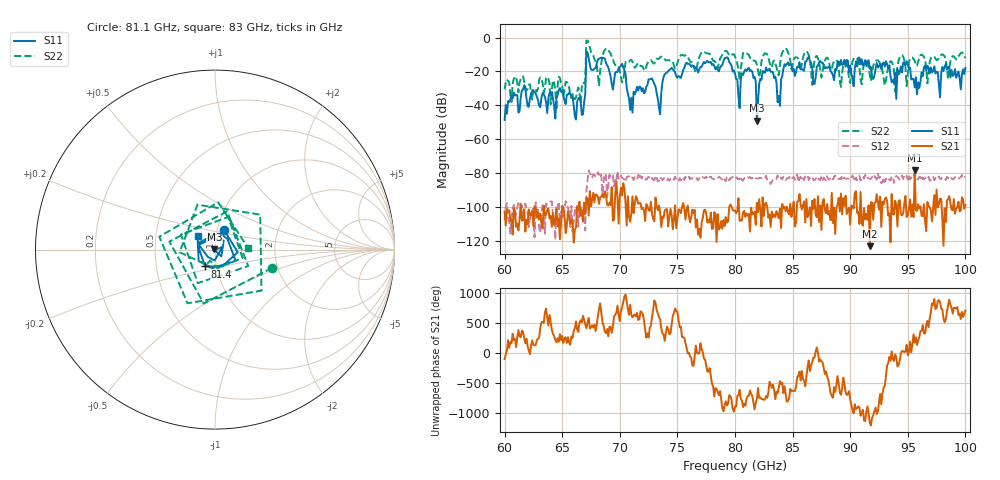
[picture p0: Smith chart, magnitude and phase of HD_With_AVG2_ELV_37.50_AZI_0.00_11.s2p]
! 11/25/2026 10:15:12 AM
! C:\ANRITSUVNA\TEMP\TEMP.S2P
! CHANNEL.1
! TR.MEASUREMENT
! RAW.DATA
# HZ S RI R 50.0
! FREQ.HZ  S11RE  S11IM  S21RE  S21IM  S12RE  S12IM  S22RE  S22IM
!; PortSelection: Port_12
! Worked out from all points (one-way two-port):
!   401 points, 60 GHz to 100 GHz, reference 50 ohm
!   highest |S21| = -78.10 dB at 95.6 GHz (marker M1); lowest = -123.0 dB at 91.7 GHz (marker M2)
!   lowest |S11| = -49.1 dB at 81.9 GHz (marker M3), VSWR 1.01, Z = 49.7 + j0.0604 ohm
!   |S11| at or under -10 dB: start of sweep to 67.09 GHz; 67.23 GHz to end of sweep
!   |S22| runs from -42.8 to -1.7 dB; largest |S21 - S12| = 0.00023
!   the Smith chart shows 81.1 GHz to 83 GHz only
!   S11 on the Smith chart (normalised r, x): 81.1 GHz: 1.08, +0.24; 81.4 GHz: 0.88, -0.17; 83 GHz: 0.82, +0.12
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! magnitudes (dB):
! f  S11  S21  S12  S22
! 60 GHz  -48.6  -102.5  -107.7  -30.5
! 61.6 GHz  -30.6  -107.7  -103.7  -22.8
! 66.7 GHz  -45.7  -101.7  -104.1  -29.5
! 67.3 GHz  -12.1  -104.9  -78.4  -3.2
! 68.4 GHz  -11.8  -93.8  -82.2  -14.7
! 70.3 GHz  -17.5  -85.9  -83.1  -25.5
! 70.9 GHz  -42.7  -108.6  -83.1  -13.5
! 72.7 GHz  -24.4  -96.8  -83.6  -13.3
! 73.4 GHz  -41.2  -99.0  -84.5  -12.6
! 74.4 GHz  -18.6  -101.1  -83.5  -13.4
! 80 GHz  -21.2  -101.9  -83.2  -11.1
! 81.1 GHz  -18.4  -105.0  -82.3  -9.5
! 81.4 GHz  -19.3  -100.4  -83.1  -13.0
! 81.9 GHz  -49.1  -97.4  -83.2  -15.9
! 83 GHz  -18.3  -104.3  -85.0  -14.6
! 83.8 GHz  -34.4  -106.6  -83.5  -22.3
! 84.5 GHz  -15.6  -99.6  -83.1  -7.0
! 86.7 GHz  -17.5  -96.3  -81.9  -28.0
! 91.7 GHz  -18.3  -123.0  -83.1  -22.4
! 93.4 GHz  -16.3  -103.6  -83.8  -15.6
! 95.6 GHz  -29.4  -78.1  -79.8  -13.7
! 100 GHz  -17.9  -98.7  -82.0  -12.1
